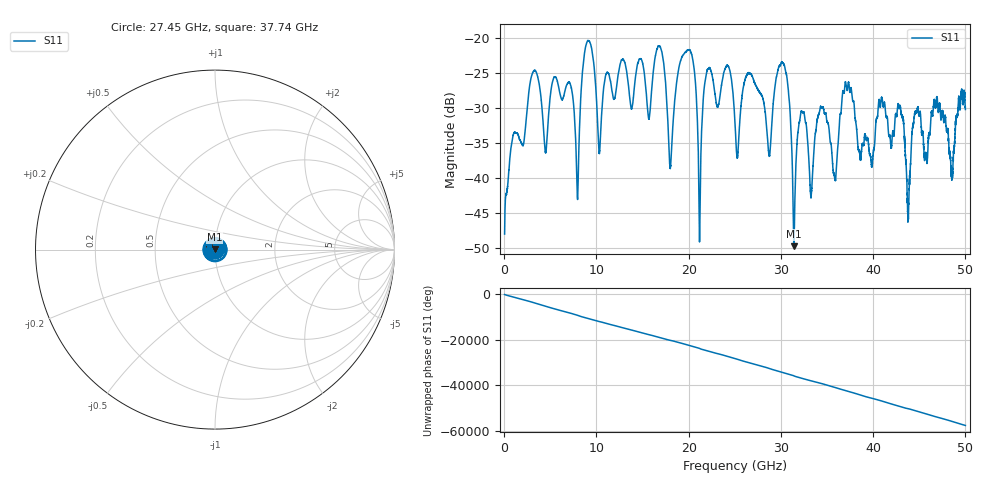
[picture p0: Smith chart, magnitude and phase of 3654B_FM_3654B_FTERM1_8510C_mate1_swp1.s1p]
!Created with skrf (http://scikit-rf.org).
# Hz S RI R 50.0
!freq ReS11 ImS11
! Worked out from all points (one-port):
!   10001 points, 45 MHz to 50 GHz, reference 50 ohm
!   lowest |S11| = -49.7 dB at 31.41 GHz (marker M1), VSWR 1.01, Z = 49.8 + j0.254 ohm
!   |S11| at or under -10 dB: start of sweep to end of sweep
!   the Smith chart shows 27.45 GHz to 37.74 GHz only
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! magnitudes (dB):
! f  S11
! 45 MHz  -48.0
! 3.112 GHz  -24.9
! 4.476 GHz  -36.4
! 6.289 GHz  -28.9
! 7.933 GHz  -42.7
! 8.987 GHz  -20.6
! 10.32 GHz  -36.5
! 12.53 GHz  -23.9
! 16.9 GHz  -21.3
! 18.02 GHz  -38.4
! 18.78 GHz  -25.6
! 20.34 GHz  -22.5
! 21.19 GHz  -48.3
! 22.13 GHz  -24.5
! 25.02 GHz  -32.1
! 26.65 GHz  -25.1
! 28.75 GHz  -36.9
! 30.21 GHz  -23.6
! 31.27 GHz  -40.0
! 31.41 GHz  -49.7
! 32.27 GHz  -30.5
! 35.83 GHz  -39.9
! 37.51 GHz  -27.7
! 39.79 GHz  -37.8
! 42.88 GHz  -30.0
! 43.76 GHz  -45.3
! 44.67 GHz  -30.6
! 50 GHz  -30.2
